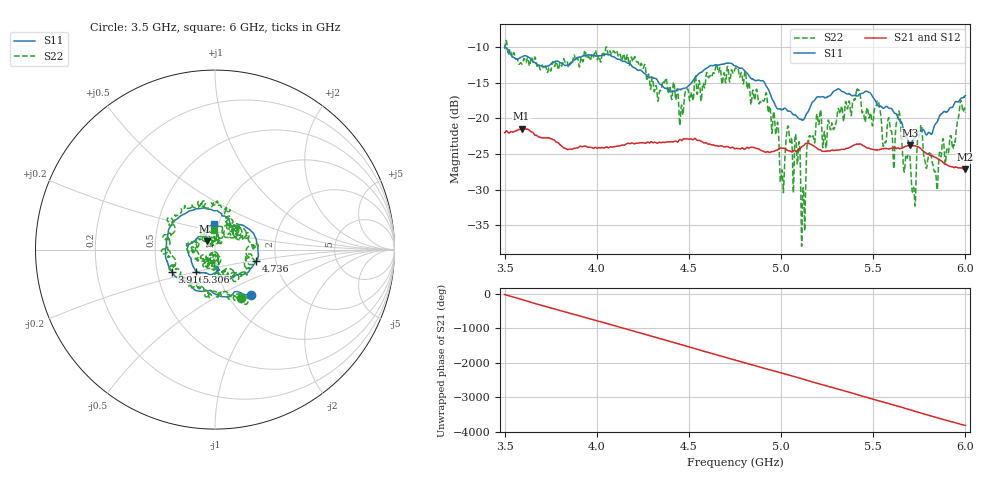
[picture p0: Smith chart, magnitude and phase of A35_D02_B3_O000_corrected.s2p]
! Created with skrf 1.9.0 (http://scikit-rf.org).
# Hz S RI R 50.0
!freq ReS11 ImS11 ReS21 ImS21 ReS12 ImS12 ReS22 ImS22
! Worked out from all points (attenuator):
!   1601 points, 3.5 GHz to 6 GHz, reference 50 ohm
!   highest |S21| = -21.45 dB at 3.592 GHz (marker M1); lowest = -27.1 dB at 6 GHz (marker M2)
!   lowest |S11| = -23.8 dB at 5.702 GHz (marker M3), VSWR 1.14, Z = 45.6 + j4.29 ohm
!   |S11| at or under -10 dB: 3.504 GHz to end of sweep
!   |S22| runs from -37.9 to -9.1 dB; largest |S21 - S12| = 0.00091
!   S11 on the Smith chart (normalised r, x): 3.5 GHz: 1.27, -0.71; 3.916 GHz: 0.60, -0.16; 4.736 GHz: 1.58, -0.22; 5.306 GHz: 0.79, -0.20; 6 GHz: 0.95, +0.28
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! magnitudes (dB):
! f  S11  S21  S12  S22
! 3.5 GHz  -9.9  -22.0  -22.0  -10.3
! 3.592 GHz  -11.4  -21.5  -21.5  -12.4
! 3.916 GHz  -11.4  -24.0  -23.9  -11.5
! 3.917 GHz  -11.4  -24.0  -24.0  -11.5
! 4.334 GHz  -15.0  -23.4  -23.4  -17.3
! 4.736 GHz  -12.4  -24.0  -24.1  -13.5
! 4.75 GHz  -12.7  -24.3  -24.2  -13.0
! 4.927 GHz  -15.7  -24.7  -24.7  -18.1
! 5.005 GHz  -18.7  -24.2  -24.2  -27.2
! 5.036 GHz  -19.0  -24.5  -24.4  -21.1
! 5.089 GHz  -19.9  -24.5  -24.5  -26.3
! 5.12 GHz  -20.2  -23.9  -23.8  -29.7
! 5.167 GHz  -17.9  -23.7  -23.7  -22.8
! 5.306 GHz  -15.9  -24.5  -24.4  -19.1
! 5.417 GHz  -16.9  -23.6  -23.6  -16.1
! 5.584 GHz  -18.6  -24.3  -24.2  -19.9
! 5.638 GHz  -20.1  -24.2  -24.2  -19.1
! 5.702 GHz  -23.8  -23.9  -23.8  -26.2
! 5.72 GHz  -22.8  -23.9  -23.8  -29.7
! 5.755 GHz  -21.8  -24.2  -24.1  -21.5
! 5.841 GHz  -20.7  -25.5  -25.5  -28.1
! 6 GHz  -16.8  -27.1  -27.1  -19.2
